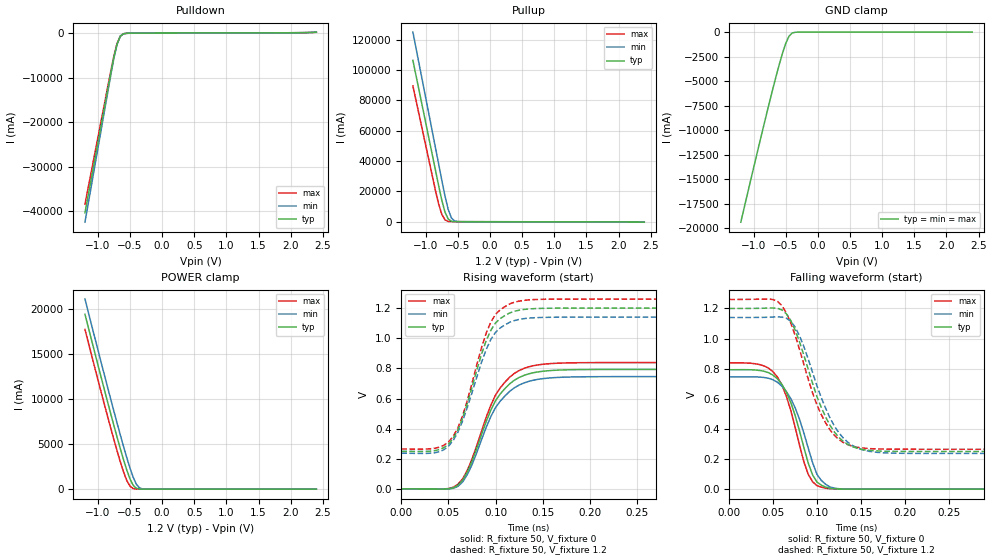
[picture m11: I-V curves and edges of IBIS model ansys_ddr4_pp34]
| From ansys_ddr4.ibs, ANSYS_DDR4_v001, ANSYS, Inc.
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|Model ansys_ddr4_pp34
[Model] ansys_ddr4_pp34
Model_type Output
C_comp 1e-13 9.5e-14 1.05e-13
[Temperature Range] 25.0 0.0 85.0
[Voltage Range] 1.2 1.14 1.26
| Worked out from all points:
|   slope of the pulldown table from 0 to 0.18 V, typ, clamps not added: 11.9 ohm
|   slope of the pullup table from 0 to 0.18 V, typ, clamps not added: 22 ohm
|   GND clamp passes 1 mA (typ) near -0.27 V on its own axis
|   POWER clamp passes 1 mA (typ) near -0.27 V on its own axis
|   rising waveform, R_fixture 50, V_fixture 0: 20-80 % time 32.3ps typ, 32.8ps min, 32ps max; typ from 0 V to 0.793 V
|   rising waveform, R_fixture 50, V_fixture 1.2: 20-80 % time 28.8ps typ, 29.8ps min, 28.2ps max; typ from 0.25 V to 1.2 V
|   falling waveform, R_fixture 50, V_fixture 0: 20-80 % time 25.1ps typ, 26.2ps min, 24.5ps max; typ from 0.793 V to 0 V
|   falling waveform, R_fixture 50, V_fixture 1.2: 20-80 % time 35.3ps typ, 35.8ps min, 35ps max; typ from 1.2 V to 0.25 V
[GND Clamp]
-1.2V     -19.39A    -19.39A    -19.39A
-850mV    -9.722A    -9.722A    -9.722A
-700mV    -5.751A    -5.751A    -5.751A
-600mV    -3.265A    -3.265A    -3.265A
-550mV    -2.13A     -2.13A     -2.13A
-500mV    -1.141A    -1.141A    -1.141A
-450mV    -425mA     -425mA     -425mA
-400mV    -94.47mA   -94.47mA   -94.47mA
-250mV    -312.2uA   -312.2uA   -312.2uA
2.4V      18.56nA    18.56nA    18.56nA
[POWER Clamp]
-1.2V     19.39A     21.07A     17.71A
-950mV    12.45A     14.1A      10.81A
-800mV    8.379A     9.992A     6.79A
-700mV    5.751A     7.316A     4.234A
-600mV    3.265A     4.733A     1.917A
-550mV    2.13A      3.503A     971.1mA
-500mV    1.141A     2.348A     327.9mA
-450mV    425mA      1.322A     66.45mA
-400mV    94.47mA    538.7mA    10.23mA
-350mV    15.01mA    132.5mA    1.479mA
-200mV    44.58uA    460.6uA    4.298uA
2.4V      -18.56nA   -18.56nA   -18.56nA
[Pulldown]
-1.2V     -40.39A    -42.5A     -38.46A
-800mV    -9.112A    -9.587A    -8.679A
-750mV    -5.398A    -5.679A    -5.142A
-700mV    -2.426A    -2.552A    -2.312A
-650mV    -706.5mA   -741.7mA   -674.3mA
-600mV    -165.9mA   -172.9mA   -159.3mA
-500mV    -47.11mA   -48.17mA   -46.03mA
2.4V      185.4mA    207.1mA    166.6mA
[Pullup]
-1.2V     106.5A     125.1A     89.57A
-850mV    34.25A     49.07A     20.83A
-800mV    23.94A     38.22A     11.78A
-750mV    14.14A     27.36A     4.849A
-700mV    6.3A       16.82A     1.231A
-650mV    1.764A     8.044A     236.4mA
-600mV    342.4mA    2.494A     64.44mA
-550mV    81.74mA    501.8mA    36.11mA
-450mV    30.58mA    44.69mA    24.97mA
2.4V      -271.5mA   -244.1mA   -302.4mA
[Ramp]
|IBIS parser requires a comment here
dV/dt_r 0.96/1e-10 0.912/1.1e-10 1.008/9.5e-11
dV/dt_f 1.0/1.2e-10 0.95/1.1e-10 1.05/1.3e-10
[Rising Waveform]
R_fixture = 50
V_fixture = 0
0s        92.87uV    58.79uV    148.8uV
45ps      -992.4uV   -1.459mV   -227uV
60ps      24.22mV    16.87mV    30.57mV
70ps      112.4mV    94.96mV    123.2mV
90ps      447mV      408.4mV    474.4mV
100ps     586.4mV    540.3mV    623.7mV
115ps     697.8mV    647.9mV    742mV
135ps     763.4mV    713.4mV    809.8mV
190ps     791.9mV    743.9mV    837.6mV
500ps     793mV      745.3mV    838.6mV
[Rising Waveform]
R_fixture = 50
V_fixture = 1.2
V_fixture_min = 1.14
V_fixture_max = 1.26
0s        250.2mV    237.3mV    265mV
40ps      260.6mV    246.4mV    276.6mV
55ps      334.7mV    321.2mV    348.2mV
65ps      470.3mV    450.7mV    484.9mV
85ps      892.6mV    838.6mV    935.7mV
95ps      1.053V     991.8mV    1.108V
105ps     1.131V     1.068V     1.189V
120ps     1.179V     1.117V     1.239V
160ps     1.199V     1.139V     1.259V
500ps     1.2V       1.14V      1.26V
[Falling Waveform]
R_fixture = 50
V_fixture = 0
0s        793mV      745.3mV    838.6mV
40ps      782.5mV    741.4mV    817.6mV
50ps      756.9mV    726.1mV    779.2mV
60ps      696mV      684.5mV    691.6mV
75ps      490.7mV    542mV      414mV
90ps      173.7mV    273.2mV    98.69mV
100ps     47mV       97.89mV    23.45mV
105ps     26.65mV    57.72mV    13.24mV
130ps     613.5uV    1.39mV     404uV
500ps     92.92uV    59.23uV    148.8uV
[Falling Waveform]
R_fixture = 50
V_fixture = 1.2
V_fixture_min = 1.14
V_fixture_max = 1.26
0s        1.2V       1.14V      1.26V
50ps      1.203V     1.143V     1.259V
60ps      1.191V     1.143V     1.219V
70ps      1.121V     1.115V     1.105V
85ps      890.7mV    947.5mV    829.8mV
105ps     541.7mV    606.1mV    494.1mV
120ps     378.1mV    417.5mV    356.6mV
135ps     297.4mV    312.3mV    295.8mV
180ps     251.8mV    240.4mV    265.9mV
500ps     250.2mV    237.3mV    265mV
